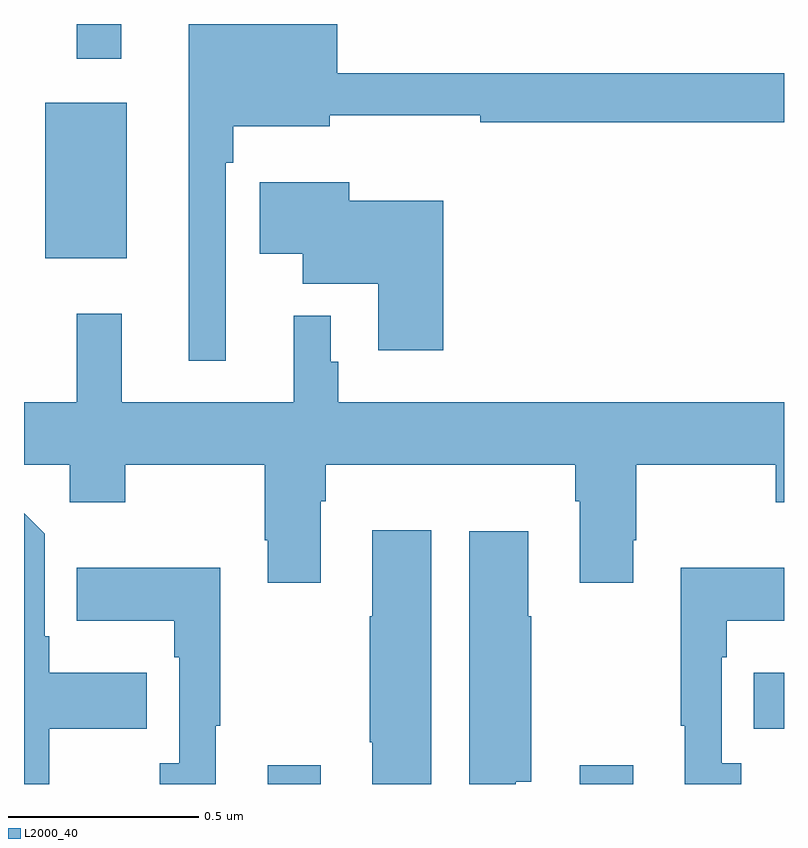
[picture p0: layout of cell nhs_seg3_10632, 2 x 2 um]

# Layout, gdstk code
import gdstk
lib = gdstk.Library(unit=1e-6, precision=1e-09)
def R(c, l, rs):  # rectangles x0, y0, x1, y1
    for r in rs: c.add(gdstk.rectangle(r[:2], r[2:], *l))
def P(c, l, *ps):  # polygons
    for p in ps: c.add(gdstk.Polygon(p, *l))
L2000_40 = (2000, 40)

nhs_seg3_10632 = lib.new_cell('nhs_seg3_10632')
R(nhs_seg3_10632, L2000_40, [(243.641,709.4,243.781,709.45), (244.463,709.4,244.603,709.45), (244.921,709.546,245,709.693), (243.056,710.783,243.271,711.193), (243.139,711.309,243.256,711.4)])
P(nhs_seg3_10632, L2000_40, [(243.531,711.035),(243.551,711.035),(243.551,711.131),(243.805,711.131),(243.805,711.16),(244.201,711.16),(244.201,711.142),(245,711.142),(245,711.271),(243.824,711.271),(243.824,711.4),(243.434,711.4),(243.434,710.514),(243.531,710.514)],
  [(244.103,710.935),(243.856,710.935),(243.856,710.983),(243.62,710.983),(243.62,710.795),(243.734,710.795),(243.734,710.717),(243.932,710.717),(243.932,710.541),(244.103,710.541)],
  [(243.781,710.144),(243.794,710.144),(243.794,710.24),(244.451,710.24),(244.451,710.144),(244.463,710.144),(244.463,709.929),(244.603,709.929),(244.603,710.041),(244.611,710.041),(244.611,710.24),(244.978,710.24),(244.978,710.141),(245,710.141),(245,710.404),(243.827,710.404),(243.827,710.511),(243.807,710.511),(243.807,710.632),(243.71,710.632),(243.71,710.404),(243.257,710.404),(243.257,710.638),(243.139,710.638),(243.139,710.404),(243,710.404),(243,710.24),(243.12,710.24),(243.12,710.141),(243.267,710.141),(243.267,710.24),(243.634,710.24),(243.634,710.041),(243.641,710.041),(243.641,709.929),(243.781,709.929)],
  [(243.067,709.546),(243.323,709.546),(243.323,709.693),(243.067,709.693),(243.067,709.789),(243.054,709.789),(243.054,710.058),(243,710.112),(243,709.4),(243.067,709.4)],
  [(244.072,710.068),(243.917,710.068),(243.917,709.841),(243.91,709.841),(243.91,709.51),(243.917,709.51),(243.917,709.4),(244.072,709.4)],
  [(244.294,709.406),(244.335,709.406),(244.335,709.841),(244.327,709.841),(244.327,710.065),(244.172,710.065),(244.172,709.4),(244.294,709.4)],
  [(244.888,709.454),(244.836,709.454),(244.836,709.733),(244.849,709.733),(244.849,709.829),(245,709.829),(245,709.969),(244.728,709.969),(244.728,709.553),(244.739,709.553),(244.739,709.4),(244.888,709.4)],
  [(243.505,709.553),(243.517,709.553),(243.517,709.969),(243.139,709.969),(243.139,709.829),(243.396,709.829),(243.396,709.733),(243.408,709.733),(243.408,709.454),(243.357,709.454),(243.357,709.4),(243.505,709.4)])

lib.write_gds('nhs_seg3_10632.gds')
